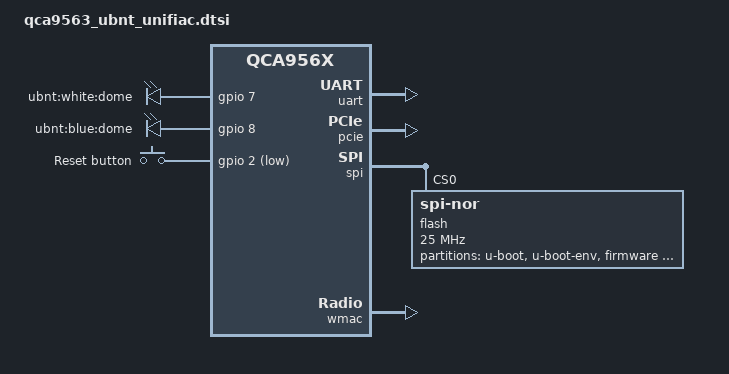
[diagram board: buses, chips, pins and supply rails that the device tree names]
// SPDX-License-Identifier: GPL-2.0-or-later OR MIT

#include "qca956x.dtsi"

#include <dt-bindings/gpio/gpio.h>
#include <dt-bindings/input/input.h>

/ {
	aliases {
		led-boot = &led_white;
		led-failsafe = &led_white;
		led-running = &led_blue;
		led-upgrade = &led_blue;
	};

	leds {
		compatible = "gpio-leds";

		led_white: led_white {
			label = "ubnt:white:dome";
			gpios = <&gpio 7 GPIO_ACTIVE_HIGH>;
		};

		led_blue: led_blue {
			label = "ubnt:blue:dome";
			gpios = <&gpio 8 GPIO_ACTIVE_HIGH>;
		};
	};

	keys {
		compatible = "gpio-keys";

		reset {
			label = "Reset button";
			linux,code = <KEY_RESTART>;
			gpios = <&gpio 2 GPIO_ACTIVE_LOW>;
			debounce-interval = <60>;
		};
	};
};

&uart {
	status = "okay";
};

&pcie {
	status = "okay";
};

&spi {
	status = "okay";
	num-cs = <1>;

	flash@0 {
		compatible = "jedec,spi-nor";
		reg = <0>;
		spi-max-frequency = <25000000>;

		partitions {
			compatible = "fixed-partitions";
			#address-cells = <1>;
			#size-cells = <1>;

			partition@0 {
				label = "u-boot";
				reg = <0x000000 0x060000>;
				read-only;
			};

			partition@60000 {
				label = "u-boot-env";
				reg = <0x060000 0x010000>;
				read-only;
			};

			partition@70000 {
				label = "firmware";
				reg = <0x070000 0x790000>;
				compatible = "denx,uimage";
			};

			partition@800000 {
				label = "ubnt-airos";
				reg = <0x800000 0x790000>;
				read-only;
			};

			partition@f90000 {
				label = "bs";
				reg = <0xf90000 0x020000>;
			};

			partition@fb0000 {
				label = "cfg";
				reg = <0xfb0000 0x040000>;
				read-only;
			};

			art: partition@ff0000 {
				label = "art";
				reg = <0xff0000 0x010000>;
				read-only;
			};
		};
	};
};

&wmac {
	status = "okay";

	mtd-cal-data = <&art 0x1000>;
};
